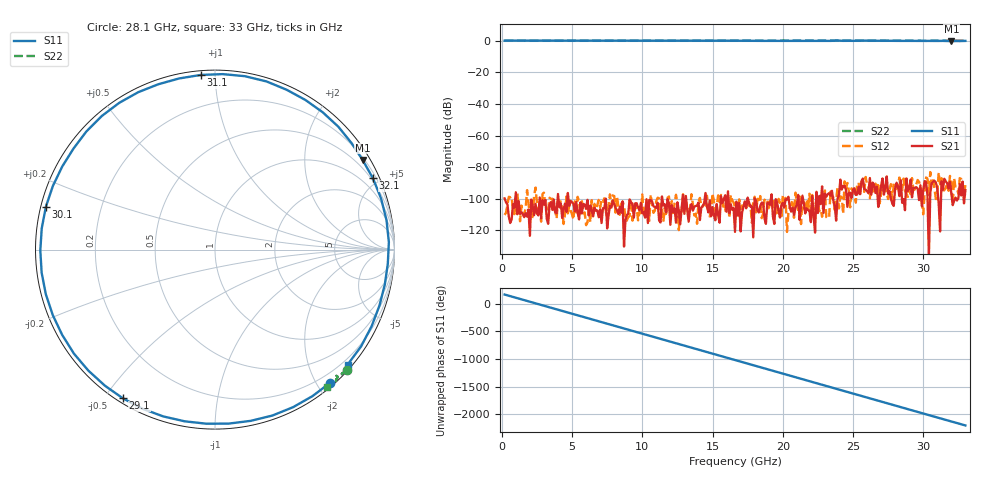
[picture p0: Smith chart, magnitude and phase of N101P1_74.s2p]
# GHZ S RI R 50
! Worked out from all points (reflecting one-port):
!   329 points, 200 MHz to 33 GHz, reference 50 ohm
!   lowest |S11| = -0.3 dB at 32 GHz (marker M1), VSWR 51.94, Z = 13.2 + j178 ohm
!   phase of S11 starts at 165 deg and turns -2366 deg over the sweep
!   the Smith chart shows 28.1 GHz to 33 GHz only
!   S11 on the Smith chart (normalised r, x): 28.1 GHz: 0.06, -2.19; 29.1 GHz: 0.02, -0.56; 30.1 GHz: 0.01, +0.12; 31.1 GHz: 0.02, +0.92; 32.1 GHz: 0.39, +4.62; 33 GHz: 0.09, -2.67
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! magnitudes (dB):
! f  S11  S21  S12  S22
! 200 MHz  0.0  -99.7  -110.2  0.0
! 5.7 GHz  -0.1  -109.1  -101.5  0.0
! 11.2 GHz  -0.1  -113.7  -99.8  -0.1
! 16.6 GHz  -0.1  -120.8  -104.9  0.0
! 20 GHz  -0.2  -102.6  -97.6  -0.1
! 22.1 GHz  -0.2  -98.2  -97.6  0.0
! 23.3 GHz  -0.2  -96.4  -111.9  0.0
! 23.6 GHz  -0.1  -101.1  -99.1  0.0
! 23.9 GHz  0.0  -100.0  -92.8  0.1
! 24.3 GHz  -0.2  -92.0  -109.5  0.0
! 25.1 GHz  -0.2  -93.3  -96.1  0.0
! 25.6 GHz  0.0  -88.8  -89.7  0.0
! 27.6 GHz  -0.1  -95.1  -94.8  0.0
! 28.1 GHz  -0.2  -89.8  -93.6  -0.1
! 29.1 GHz  -0.2  -87.9  -97.1  -0.1
! 30.1 GHz  -0.2  -88.8  -95.3  -0.2
! 31.1 GHz  -0.2  -103.0  -83.4  -0.1
! 31.4 GHz  -0.2  -94.2  -94.6  -0.1
! 32 GHz  -0.3  -96.7  -88.4  -0.1
! 32.1 GHz  -0.3  -104.0  -103.3  -0.1
! 32.6 GHz  -0.3  -90.7  -86.9  0.0
! 33 GHz  -0.2  -94.5  -91.3  -0.1
